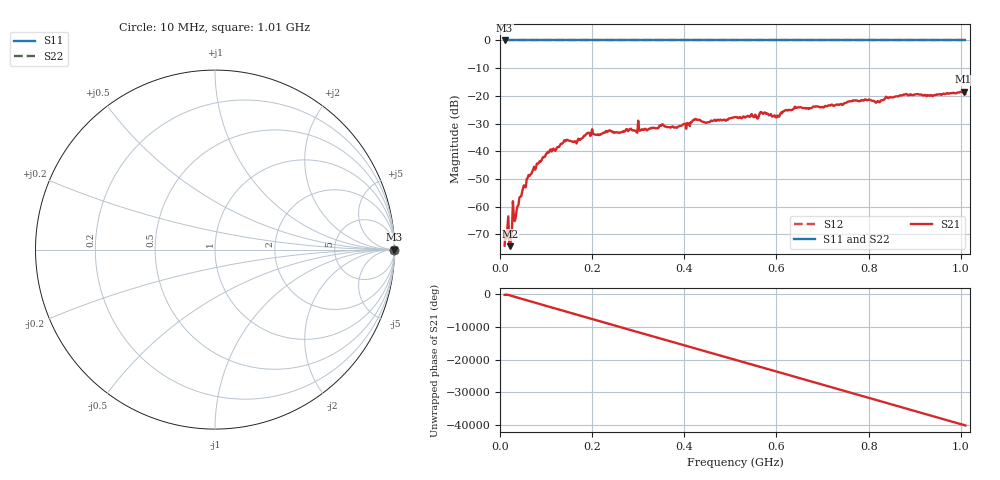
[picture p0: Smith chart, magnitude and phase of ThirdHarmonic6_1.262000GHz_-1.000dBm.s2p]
! 8/16/2025 1:35:08 PM
! C:\ANRITSUVNA\TEMP\TEMP.S2P
! CHANNEL.1
! TR.MEASUREMENT
! RAW.DATA
! RF.CORRECTION.OFF
! AVERAGING.OFF
! IF.BANDWIDTH: 5KHZ
! SWEEPTYPE:  FREQ.SWEEP(Linear)
! Reference Plane Port Info
! PORT:  PORT1  PORT2
! DISTANCE:  0  m  0  m
! TIME:  0  s  0  s
! PHASE.OFFSET:  0  deg.  0  deg.
! LOSS:  0  dB  0  dB
! REF.LOSS:  0  dB  0  dB
! REF.FREQ:  0  Hz  0  Hz
! Power Info
! POWER:  -20  dBm  -20  dBm
! EFF.POWER:  -20  dBm  -20  dBm
! SOURCE.ATTEN:  0  dB  0  dB
! TEST.ATTEN:  0  dB  0  dB
# GHZ S RI R 50.0
! FREQ.GHZ  S11RE  S11IM  S21RE  S21IM  S12RE  S12IM  S22RE  S22IM
!; PortSelection: Port_12
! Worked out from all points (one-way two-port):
!   501 points, 10 MHz to 1.01 GHz, reference 50 ohm
!   highest |S21| = -18.45 dB at 1.006 GHz (marker M1); lowest = -74.2 dB at 22 MHz (marker M2)
!   lowest |S11| = 0.0 dB at 10 MHz (marker M3)
!   |S11| at or under -10 dB: nowhere
!   |S22| runs from 0.0 to 0.0 dB; largest |S21 - S12| = 1.1
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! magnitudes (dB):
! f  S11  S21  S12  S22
! 10 MHz  0.0  -74.0  0.0  0.0
! 14 MHz  0.0  -71.5  0.0  0.0
! 22 MHz  0.0  -74.2  0.0  0.0
! 32 MHz  0.0  -65.2  0.0  0.0
! 36 MHz  0.0  -61.3  0.0  0.0
! 46 MHz  0.0  -56.2  0.0  0.0
! 70 MHz  0.0  -47.3  0.0  0.0
! 106 MHz  0.0  -40.5  0.0  0.0
! 142 MHz  0.0  -36.4  0.0  0.0
! 178 MHz  0.0  -35.3  0.0  0.0
! 196 MHz  0.0  -34.5  0.0  0.0
! 344 MHz  0.0  -31.5  0.0  0.0
! 510 MHz  0.0  -27.6  0.0  0.0
! 556 MHz  0.0  -27.4  0.0  0.0
! 570 MHz  0.0  -26.4  0.0  0.0
! 602 MHz  0.0  -27.1  0.0  0.0
! 644 MHz  0.0  -24.3  0.0  0.0
! 678 MHz  0.0  -24.1  0.0  0.0
! 820 MHz  0.0  -21.8  0.0  0.0
! 844 MHz  0.0  -20.7  0.0  0.0
! 1.006 GHz  0.0  -18.4  0.0  0.0
! 1.01 GHz  0.0  -19.2  0.0  0.0
